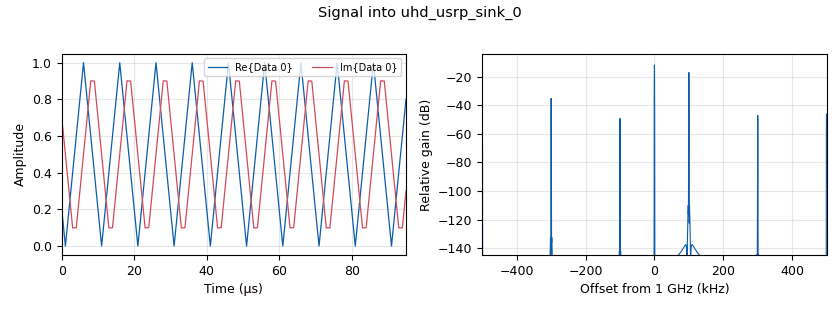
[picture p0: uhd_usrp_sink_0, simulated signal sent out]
options:
  parameters:
    generate_options: qt_gui
    id: transmitter
    output_language: python
    title: Not titled yet
  states: {}

blocks:
- name: samp_rate
  id: variable
  parameters:
    value: '1000000'
  states: {}
- name: analog_sig_source_x_0
  id: analog_sig_source_x
  parameters:
    amp: '1'
    freq: '100000'
    offset: '0'
    phase: '0'
    samp_rate: samp_rate
    type: complex
    waveform: analog.GR_TRI_WAVE
  states: {}
- name: blocks_throttle2_0
  id: blocks_throttle2
  parameters:
    samples_per_second: samp_rate
    type: complex
  states: {}
- name: uhd_usrp_sink_0
  id: uhd_usrp_sink
  parameters:
    ant0: '"TX/RX"'
    center_freq0: '1000000000'
    gain0: '100'
    samp_rate: samp_rate
    sync: sync
    type: fc32
  states: {}

connections:
- [analog_sig_source_x_0, '0', blocks_throttle2_0, '0']
- [blocks_throttle2_0, '0', uhd_usrp_sink_0, '0']

metadata:
  file_format: 1
  grc_version: 3.10.9.2
